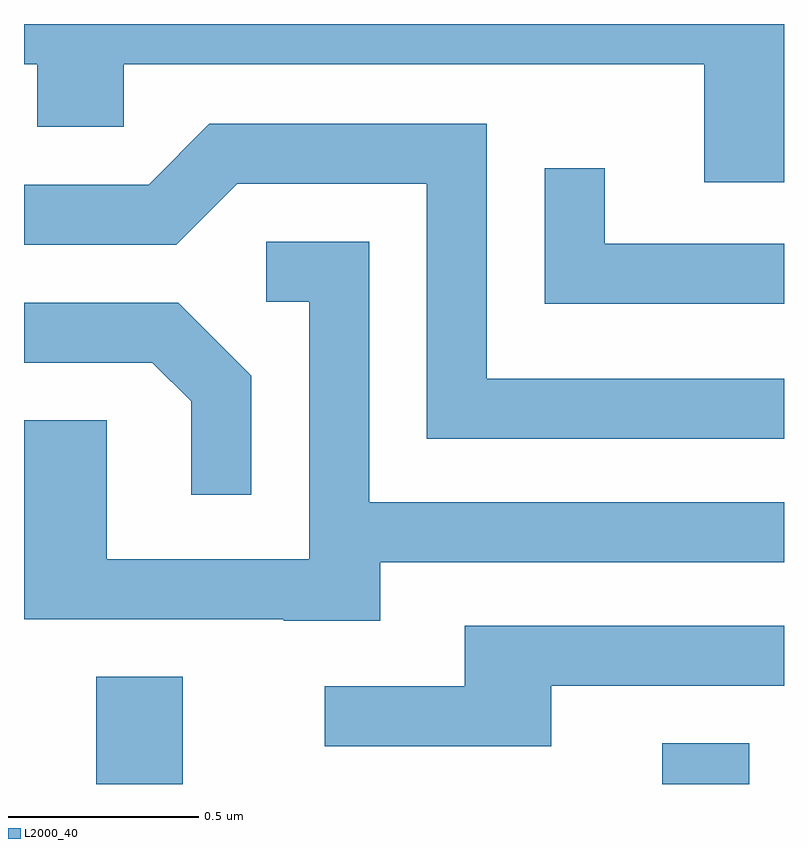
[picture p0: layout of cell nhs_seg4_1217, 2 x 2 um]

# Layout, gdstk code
import gdstk
lib = gdstk.Library(unit=1e-6, precision=1e-09)
def R(c, l, rs):  # rectangles x0, y0, x1, y1
    for r in rs: c.add(gdstk.rectangle(r[:2], r[2:], *l))
def P(c, l, *ps):  # polygons
    for p in ps: c.add(gdstk.Polygon(p, *l))
L2000_40 = (2000, 40)

nhs_seg4_1217 = lib.new_cell('nhs_seg4_1217')
R(nhs_seg4_1217, L2000_40, [(193.801,1374.982,194.029,1375.264), (195.291,1374.982,195.519,1375.089)])
P(nhs_seg4_1217, L2000_40, [(195.611,1376.982),(193.611,1376.982),(193.611,1376.876),(193.646,1376.876),(193.646,1376.711),(193.874,1376.711),(193.874,1376.876),(195.401,1376.876),(195.401,1376.566),(195.611,1376.566)],
  [(195.611,1376.049),(194.829,1376.049),(194.829,1376.719),(194.099,1376.719),(193.939,1376.559),(193.611,1376.559),(193.611,1376.401),(194.012,1376.401),(194.172,1376.561),(194.671,1376.561),(194.671,1375.891),(195.611,1375.891)],
  [(195.611,1376.404),(195.139,1376.404),(195.139,1376.603),(194.981,1376.603),(194.981,1376.246),(195.611,1376.246)],
  [(194.549,1375.566),(195.611,1375.566),(195.611,1375.724),(194.519,1375.724),(194.519,1376.409),(194.248,1376.409),(194.248,1376.251),(194.361,1376.251),(194.361,1375.574),(193.829,1375.574),(193.829,1375.939),(193.611,1375.939),(193.611,1375.416),(194.295,1375.416),(194.295,1375.411),(194.549,1375.411)],
  [(194.209,1376.057),(194.017,1376.249),(193.611,1376.249),(193.611,1376.091),(193.949,1376.091),(194.051,1375.989),(194.051,1375.743),(194.209,1375.743)],
  [(194.999,1375.241),(195.611,1375.241),(195.611,1375.399),(194.771,1375.399),(194.771,1375.239),(194.403,1375.239),(194.403,1375.081),(194.999,1375.081)])

lib.write_gds('nhs_seg4_1217.gds')
